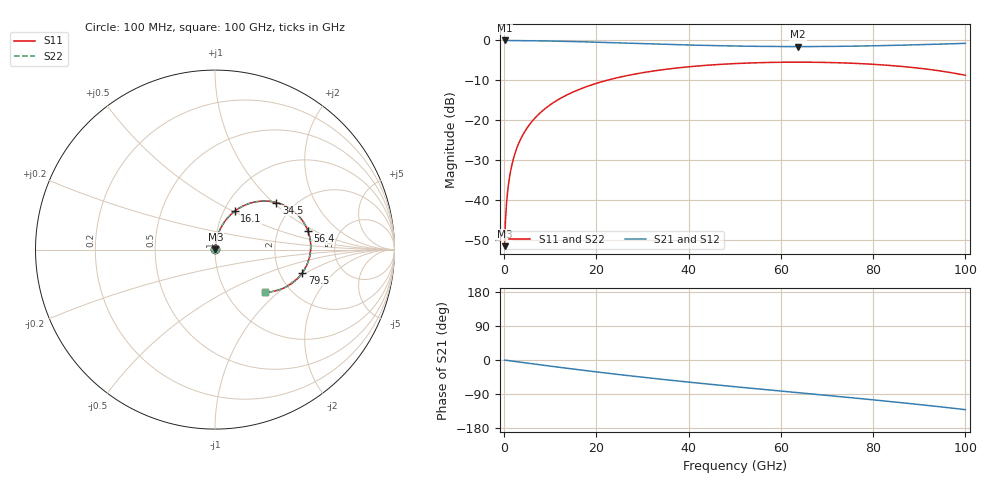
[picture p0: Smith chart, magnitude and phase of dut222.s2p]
! Touchstone file exported from HFSS 2026.1.0
!  File:  C:/ffzhzh/LocalFiles/Ansys_Project_Files/temp_train_RDL_222_1783501031_41296.aedt
!  Generated:  04:58:15 PM Jul  8, 2026
!  Design:  RDL
!  Project:  temp_train_RDL_222_1783501031_41296
! Variables:
!  h_bsmrdl = 2um
!  h_ox = 20um
!  h_rdl = 5um
!  h_sub = 80um
!  h_tmrdl = 3.22um
!  h_tsv = 80um
!  h_via = 3um
!  l_bsmrdl = 300um
!  l_sub = 829.86um
!  l_tmrdl = 429.86um
!  m_sub = 200um
!  pitch = 57.56um
!  r_tsv = 6um
!  s_tmrdl = 10um
!  w_bsmrdl = 18um
!  w_sub = 500um
!  w_tmrdl = 28.43um
!  x_tsv_center1 = 444.075um
!  x_tsv_center2 = 762.075um
!  x_tsv_center3 = 1220.365um
!  x_tsv_center4 = 1538.365um
!  x_tsv_center5 = 1996.655um
!  x_tsv_center6 = 2314.655um
# GHz S MA R 50.000000
! Terminal data exported
! Port[1] = TM_RDL1_1_T1
! Port[2] = TM_RDL1_1_T2
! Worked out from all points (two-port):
!   1000 points, 100 MHz to 100 GHz, reference 50 ohm
!   highest |S21| = -0.02 dB at 100 MHz (marker M1); lowest = -1.5 dB at 63.7 GHz (marker M2)
!   |S21| within 3 dB of the highest: start of sweep to end of sweep
!   lowest |S11| = -51.5 dB at 100 MHz (marker M3), VSWR 1.01, Z = 50.2 + j0.182 ohm
!   |S11| at or under -10 dB: start of sweep to 22.29 GHz
!   |S22| runs from -51.5 to -5.5 dB; largest |S21 - S12| = 1.8e-14
!   S11 on the Smith chart (normalised r, x): 100 MHz: 1.00, +0.00; 16.1 GHz: 1.12, +0.51; 34.5 GHz: 1.62, +1.04; 56.4 GHz: 2.96, +0.86; 79.5 GHz: 2.67, -0.92; 100 GHz: 1.50, -0.82
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0.1  0.002646 43.2  0.9981 -0.2  0.9981 -0.2  0.002646 43.2
! Gamma 0 0 0 0
! Port Impedance 50 0 50 0
0.8  0.01351 78.1  0.9974 -1.3  0.9974 -1.3  0.01351 78.0
1.1  0.01828 80.1  0.9973 -1.8  0.9973 -1.8  0.01828 80.1
1.4  0.02308 81.1  0.9971 -2.3  0.9971 -2.3  0.02308 81.1
2.4  0.03915 81.9  0.9964 -4.0  0.9964 -4.0  0.03915 81.9
3.9  0.06311 80.6  0.9947 -6.4  0.9947 -6.4  0.06311 80.6
5.9  0.09451 77.9  0.9916 -9.6  0.9916 -9.6  0.09451 77.9
8.6  0.1356 73.9  0.9858 -14.0  0.9858 -14.0  0.1356 73.9
12  0.1851 68.8  0.9767 -19.3  0.9767 -19.3  0.1851 68.8
16.1  0.2409 62.8  0.9636 -25.6  0.9636 -25.6  0.2409 62.8
16.8  0.25 61.8  0.9612 -26.6  0.9612 -26.6  0.25 61.7
24.2  0.3371 51.2  0.9334 -37.4  0.9334 -37.4  0.3371 51.2
33.4  0.4219 38.9  0.8981 -50.0  0.8981 -50.0  0.4219 38.9
34.5  0.4303 37.5  0.8941 -51.4  0.8941 -51.4  0.4303 37.5
50.1  0.5125 18.7  0.85 -70.5  0.85 -70.5  0.5124 18.6
56.4  0.5278 11.5  0.8406 -77.8  0.8406 -77.8  0.5278 11.4
63.7  0.5338 3.3  0.8368 -86.2  0.8368 -86.2  0.5338 3.2
66.7  0.5327 -0.1  0.8374 -89.6  0.8374 -89.6  0.5327 -0.1
79.5  0.5038 -14.8  0.8542 -104.5  0.8542 -104.5  0.5037 -14.8
83.4  0.4867 -19.4  0.8635 -109.2  0.8635 -109.2  0.4866 -19.4
92  0.434 -30.0  0.8896 -120.1  0.8896 -120.1  0.434 -30.1
100  0.3655 -40.5  0.9181 -131.0  0.9181 -131.0  0.3655 -40.5
